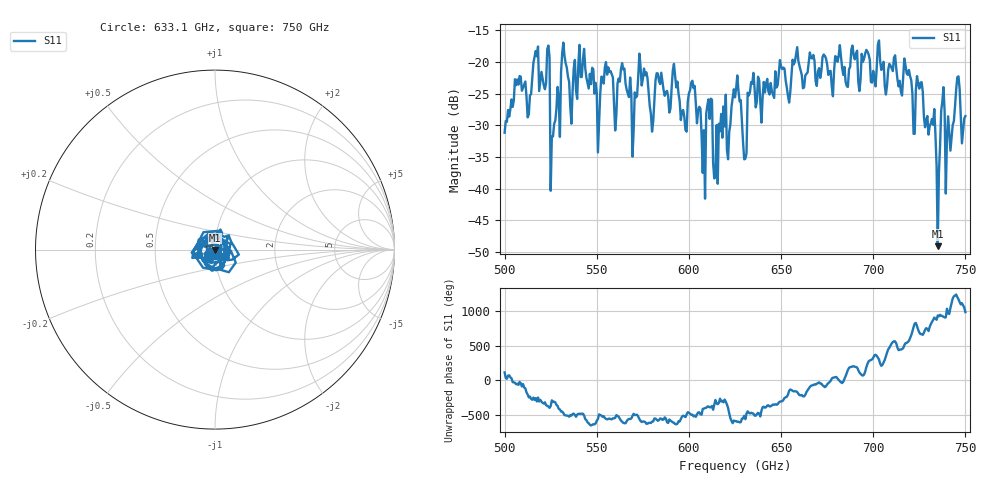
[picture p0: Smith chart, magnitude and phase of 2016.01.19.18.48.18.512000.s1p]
!Created with skrf (http://scikit-rf.org).
# GHz S RI R 50.0
!freq ReS11 ImS11
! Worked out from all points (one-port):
!   401 points, 500 GHz to 750 GHz, reference 50 ohm
!   lowest |S11| = -49.1 dB at 735 GHz (marker M1), VSWR 1.01, Z = 49.7 - j0.228 ohm
!   |S11| at or under -10 dB: start of sweep to end of sweep
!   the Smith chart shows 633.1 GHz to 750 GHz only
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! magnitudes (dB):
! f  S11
! 500 GHz  -31.2
! 513.1 GHz  -28.3
! 516.9 GHz  -18.3
! 523.1 GHz  -18.0
! 526.2 GHz  -31.8
! 531.2 GHz  -18.6
! 550.6 GHz  -34.3
! 562.5 GHz  -23.1
! 570 GHz  -30.9
! 574.4 GHz  -23.7
! 580 GHz  -31.0
! 593.8 GHz  -23.1
! 602.5 GHz  -24.1
! 608.1 GHz  -30.8
! 611.2 GHz  -29.0
! 614.4 GHz  -38.2
! 625 GHz  -25.6
! 630 GHz  -35.4
! 633.8 GHz  -23.2
! 656.2 GHz  -19.6
! 687.5 GHz  -20.8
! 718.8 GHz  -22.0
! 732.5 GHz  -29.9
! 735 GHz  -49.1
! 737.5 GHz  -26.2
! 740.6 GHz  -28.6
! 745.6 GHz  -22.4
! 750 GHz  -28.5
